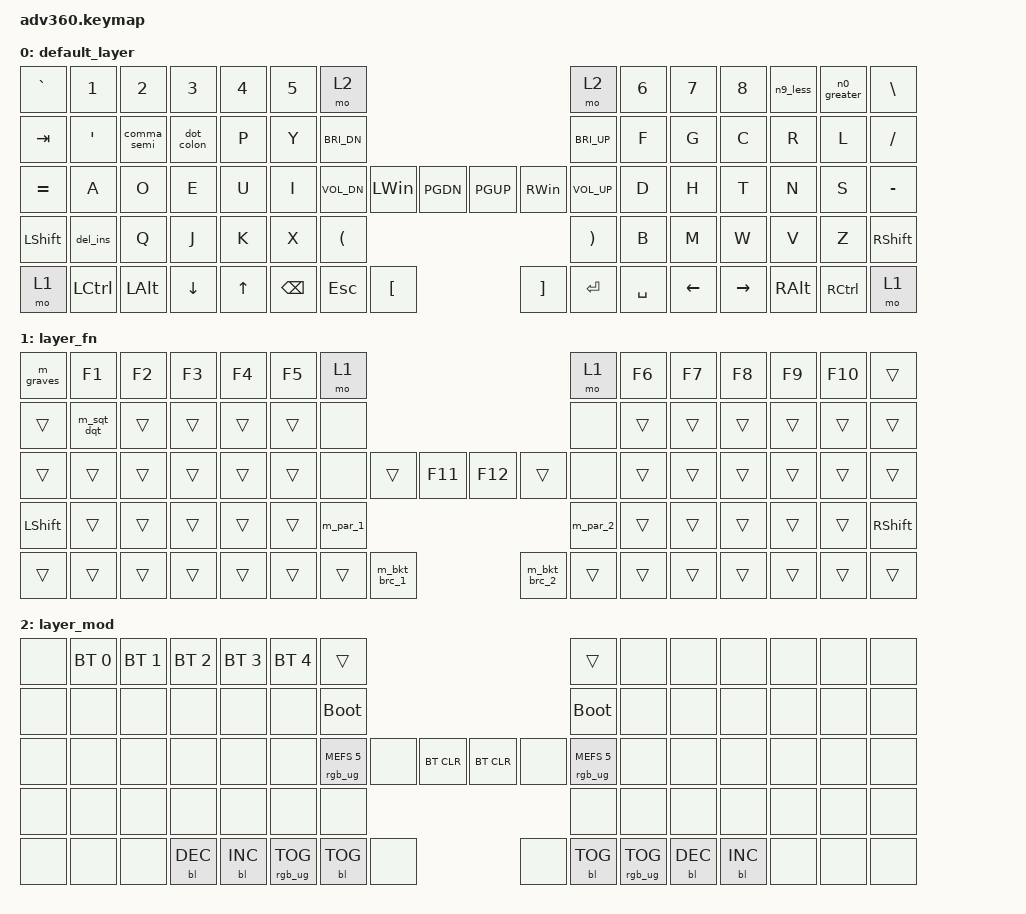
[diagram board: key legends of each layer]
/* -*- mode: dts -*- */

#include <behaviors.dtsi>
#include <dt-bindings/zmk/keys.h>
#include <dt-bindings/zmk/bt.h>
#include <dt-bindings/zmk/rgb.h>
#include <dt-bindings/zmk/backlight.h>

/ {
  behaviors {
    #include "macros.dtsi"
    #include "version.dtsi"
    #include "modmorph.dtsi"
  };

    keymap {
        compatible = "zmk,keymap";

        default_layer {
            bindings = <
       &kp GRAVE       &kp N1       &kp N2       &kp N3       &kp N4       &kp N5                   &mo 2                                                                    &mo 2                   &kp N6      &kp N7        &kp N8       &n9_less    &n0_greater &kp BACKSLASH
         &kp TAB      &kp SQT  &comma_semi   &dot_colon        &kp P        &kp Y            &kp C_BRI_DN                                                                    &kp C_BRI_UP            &kp F       &kp G         &kp C        &kp R       &kp L       &kp SLASH
       &kp EQUAL        &kp A        &kp O        &kp E        &kp U        &kp I            &kp C_VOL_DN    &kp LWIN            &kp PGDN    &kp PGUP           &kp RWIN     &kp C_VOL_UP            &kp D       &kp H         &kp T        &kp N       &kp S       &kp MINUS
       &kp LSHFT     &del_ins        &kp Q        &kp J        &kp K        &kp X                                                &kp LPAR    &kp RPAR                                                &kp B       &kp M         &kp W        &kp V       &kp Z       &kp RSHFT
           &mo 1    &kp LCTRL     &kp LALT     &kp DOWN       &kp UP                             &kp BSPC    &kp ESC             &kp LBKT    &kp RBKT           &kp ENTER    &kp SPACE                           &kp LEFT      &kp RIGHT    &kp RALT    &kp RCTRL   &mo 1
                  >;
              };

              layer_fn {
                  bindings = <
          &m_graves    &kp F1       &kp F2       &kp F3       &kp F4       &kp F5                   &mo 1                                                                    &mo 1                   &kp F6      &kp F7        &kp F8       &kp F9      &kp F10     &trans
          &trans   &m_sqt_dqt       &trans       &trans       &trans       &trans                   &none                                                                    &none                   &trans      &trans        &trans       &trans      &trans      &trans
          &trans       &trans       &trans       &trans       &trans       &trans                   &none      &trans            &kp F11     &kp F12            &trans       &none                   &trans      &trans        &trans       &trans      &trans      &trans
       &kp LSHFT       &trans       &trans       &trans       &trans       &trans                                                &m_par_1    &m_par_2                                                &trans      &trans        &trans       &trans      &trans      &kp RSHFT
          &trans       &trans       &trans       &trans       &trans                               &trans      &trans        &m_bkt_brc_1    &m_bkt_brc_2       &trans       &trans                              &trans        &trans       &trans      &trans      &trans
                  >;
              };

              layer_mod {
                  bindings = <
           &none &bt BT_SEL 0 &bt BT_SEL 1 &bt BT_SEL 2 &bt BT_SEL 3 &bt BT_SEL 4                  &trans                                                                    &trans                  &none        &none        &none        &none       &none       &none
           &none        &none        &none        &none        &none        &none             &bootloader                                                                    &bootloader             &none        &none        &none        &none       &none       &none
           &none        &none        &none        &none        &none        &none  &rgb_ug RGB_MEFS_CMD 5      &none           &bt BT_CLR    &bt BT_CLR         &none        &rgb_ug RGB_MEFS_CMD 5  &none        &none        &none        &none       &none       &none
           &none        &none        &none        &none        &none        &none                                                   &none    &none                                                   &none        &none        &none        &none       &none       &none
           &none        &none        &none   &bl BL_DEC   &bl BL_INC                      &rgb_ug RGB_TOG &bl BL_TOG                &none    &none              &bl BL_TOG   &rgb_ug RGB_TOG                      &bl BL_DEC   &bl BL_INC   &none       &none       &none
            >;
        };
    };
};
